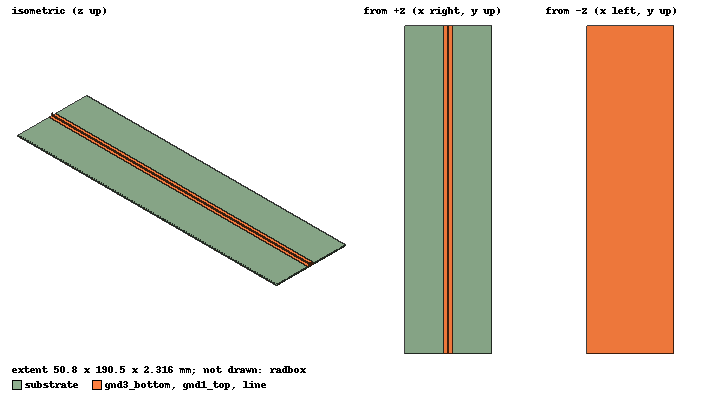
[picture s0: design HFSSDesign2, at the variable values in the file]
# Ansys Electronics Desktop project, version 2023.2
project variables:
  $w_lin = 0.53789169mm  # optimise 0.52mm..1.56mm
  $d = 0.11434763mm  # optimise 0.2mm..0.6mm
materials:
  vacuum: permittivity=1
  FR4_epoxy: permittivity=4.4 dielectric_loss_tangent=0.02
  air: permittivity=1.0006 permeability=1.0000004
  rhodium: conductivity=22200000
  Rogers RO4350 (tm): permittivity=3.66 dielectric_loss_tangent=0.004
  copper: permeability=0.999991 conductivity=58000000

design HFSSDesign2 (HFSS, HFSS Modal Network, model units mm)
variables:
  w = 50.8mm
  l = 190.5mm
  h_sub = 0.508mm
  h_gnd3 = 0.03556mm
  h_sig = 0.03556mm
  w_gnd_top = 2mm
  h_ges = h_gnd3+h_sig+h_sub
  pos_gnd1 = w/2-$w_lin/2-$d-w_gnd_top
  pos_lin = w/2-$w_lin/2
  pos_gnd2 = w/2+$w_lin/2+$d
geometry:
  radbox [air] = box(corner=(-15mm, 0mm, -15mm), size=(w+30mm, l, h_ges+30mm))
  gnd3_bottom [copper] = box(corner=(0mm, 0mm, 0mm), size=(w, l, h_gnd3))
  substrate [Rogers RO4350 (tm)] = box(corner=(0mm, 0mm, h_gnd3), size=(w, l, h_sub))
  line [copper] = box(corner=(pos_lin, 0mm, h_gnd3+h_sub), size=($w_lin, l, h_sig))
  gnd1_top [copper] = box(corner=(pos_gnd1, 0mm, h_gnd3+h_sub), size=(w_gnd_top, l, h_sig))
  gnd2_top = box(corner=(pos_gnd2, 0mm, h_gnd3+h_sub), size=(w_gnd_top, l, h_sig))
  port1 = rectangle(corner=(w/2-$d*5, 0mm, 0mm), z_size=h_ges*4, x_size=$d*10)
  port2 = rectangle(corner=(w/2-$d*5, l, 0mm), z_size=h_ges*4, x_size=$d*10)
  gnd1_top.unite(gnd2_top)
  via1 [copper] = cylinder(axis=Z, base_centre=(23.32mm, 2mm, h_gnd3), radius=0.2mm, height=h_sub)
  via1_1..via1_78 [copper] = via1.duplicate_along_line(step=(0mm, 2.4mm, 0mm), total=300)  # copies kept: 1..78
  via2 [copper] = cylinder(axis=Z, base_centre=(27.48mm, 2mm, h_gnd3), radius=0.2mm, height=h_sub)
  via2_1..via2_78 [copper] = via2.duplicate_along_line(step=(0mm, 2.4mm, 0mm), total=79)
  [via1, via1_1..via1_78].move(0.7mm, 0mm, 0mm)
  [via2, via2_1..via2_78].move(-0.7mm, 0mm, 0mm)
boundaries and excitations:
  Rad1: Radiation Objects=radbox
  1: Wave Port Objects=port1 WavePortType=Modal NumModes=1 Modes{Mode1{CharImp=Zpi RenormImp=50ohm}}
  2: Wave Port Objects=port2 WavePortType=Modal NumModes=1 Modes{Mode1{CharImp=Zpi RenormImp=50ohm}}
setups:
  Setup1: HfssDriven Frequency=10GHz MaxDeltaS=0.02 MaximumPasses=20 MinimumPasses=1 MinimumConvergedPasses=1 PercentRefinement=30 BasisOrder=1 PortAccuracy=2 DrivenSolverType="Direct Solver"
    sweep Sweep_fast: 10GHz to 20GHz step 0.3GHz; Type=Discrete
    sweep Sweep: 1GHz to 20GHz step 0.1GHz; Type=Discrete
    sweep Sweep_fine: 0.01GHz to 20GHz step 0.01GHz; Type=Discrete
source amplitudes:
  1:1: 1W 0deg
  2:1: 0W 0deg
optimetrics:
  OptimizationSetup1: Optimization Optimizer="kDX ASO" AnalysisStopOptions{StopForNumIteration MaxNumIteration=20 MinNumIteration=10} CostFuncNormType=L2 Acceptable_Cost=0 Noise=0.0001 UpdateDesignWhenDone
    vary $w_gnd_top: Min=1.6mm Max=5mm MinStep=0.05mm MaxStep=0.5mm MinFocus=2.5mm MaxFocus=7.5mm start=2mm
    goal dB(S(1,1)) <= -30 weight 1 on Setup1 : Sweep_fast at Freq 10GHz to 19.9GHz
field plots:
  Mag_E1: E Field in substrate on Setup1 : LastAdaptive at Freq=10GHz Phase=0deg
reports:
  S Parameter Plot 1: dB(S(1,1)), dB(S(2,1)), dB(S(1,2)), dB(S(2,2)) vs Freq on Setup1 : Sweep [w_gnd_top=all]
  Port Zo Plot 1: mag(Zo(1)), mag(Zo(2)) vs Freq on Setup1 : Sweep [w_gnd_top=all]
  S Parameter Plot 2: dB(S(1,1)), dB(S(2,1)), dB(S(1,2)), dB(S(2,2)) vs Freq on Setup1 : Sweep_fine
